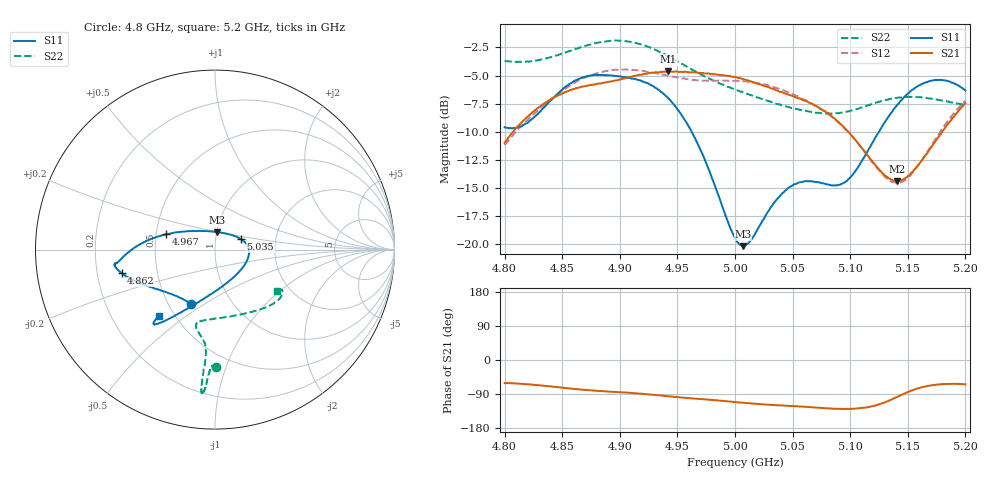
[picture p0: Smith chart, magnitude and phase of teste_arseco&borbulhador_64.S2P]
! Network Analyzer HP8722D
! Hewlett-Packard
! Data name: Linha & Wilkinson
! Saver's name: Rodrigo Anjos
! Comments: Teste da utilização de aquisição
! continua pelo VNA HP8722D
! Time and date: 15/4/2025 16:10
!  Frequency  S11  S21  S12  S22
# HZ  S  MA R 50
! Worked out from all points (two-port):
!   401 points, 4.8 GHz to 5.2 GHz, reference 50 ohm
!   highest |S21| = -4.63 dB at 4.942 GHz (marker M1); lowest = -14.4 dB at 5.141 GHz (marker M2)
!   |S21| within 3 dB of the highest: 4.832 GHz to 5.069 GHz (236.3 MHz wide, 4.77 % of centre); 5.198464 GHz to end of sweep
!   lowest |S11| = -20.2 dB at 5.007 GHz (marker M3), VSWR 1.22, Z = 50.2 + j9.86 ohm
!   |S11| at or under -10 dB: 4.962 GHz to 5.125 GHz (162.7 MHz wide, 3.23 % of centre)
!   |S22| runs from -8.4 to -1.9 dB; largest |S21 - S12| = 0.88
!   S11 on the Smith chart (normalised r, x): 4.8 GHz: 0.65, -0.44; 4.862 GHz: 0.31, -0.11; 4.967 GHz: 0.57, +0.11; 5.035 GHz: 1.32, +0.16; 5.2 GHz: 0.41, -0.40
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4.8e9  0.3314 -113.9  0.2824 -61.0  0.2761 -175.0  0.6542 -89.4
4.819e9  0.345 -133.7  0.3651 -63.8  0.3531 -173.4  0.6493 -91.2
4.862e9  0.5368 -165.8  0.4941 -76.7  0.5269 -176.5  0.7399 -93.5
4.867e9  0.5497 -167.6  0.5027 -78.3  0.5426 -177.4  0.7546 -93.7
4.899e9  0.558 -172.2  0.5376 -84.9  0.5968 175.8  0.8037 -95.1
4.934e9  0.4848 -178.1  0.5803 -93.4  0.5737 171.9  0.7191 -95.6
4.942e9  0.4461 178.4  0.5868 -95.7  0.5606 171.9  0.6859 -95.4
4.967e9  0.2838 162.3  0.5797 -102.1  0.5349 174.0  0.5805 -95.1
5e9  0.1066 106.8  0.5529 -110.9  0.5334 176.3  0.4877 -99.2
5.007e9  0.09801 83.3  0.5412 -112.6  0.5302 176.3  0.4731 -100.9
5.015e9  0.1065 58.3  0.5263 -114.8  0.5248 175.9  0.4581 -102.6
5.035e9  0.1552 22.7  0.4856 -119.1  0.4965 175.1  0.4233 -103.8
5.05e9  0.1826 6.8  0.4557 -121.6  0.4651 174.3  0.4035 -100.2
5.067e9  0.1904 -11.5  0.4205 -124.8  0.4223 174.0  0.3871 -91.9
5.087e9  0.1826 -43.9  0.3605 -128.7  0.3582 173.7  0.3824 -76.9
5.098e9  0.1934 -67.2  0.3179 -128.9  0.3172 174.3  0.3891 -67.7
5.134e9  0.3736 -116.2  0.1958 -106.8  0.192 -159.7  0.4418 -43.4
5.141e9  0.4172 -120.2  0.191 -97.0  0.1872 -148.7  0.448 -40.2
5.153e9  0.4822 -125.0  0.2074 -81.0  0.2044 -130.2  0.4516 -35.9
5.17e9  0.5328 -128.6  0.2683 -67.0  0.2732 -113.1  0.4445 -32.1
5.184e9  0.5323 -130.0  0.3386 -63.1  0.349 -107.3  0.4315 -31.2
5.2e9  0.4828 -130.4  0.4232 -64.2  0.435 -106.1  0.4156 -33.5
